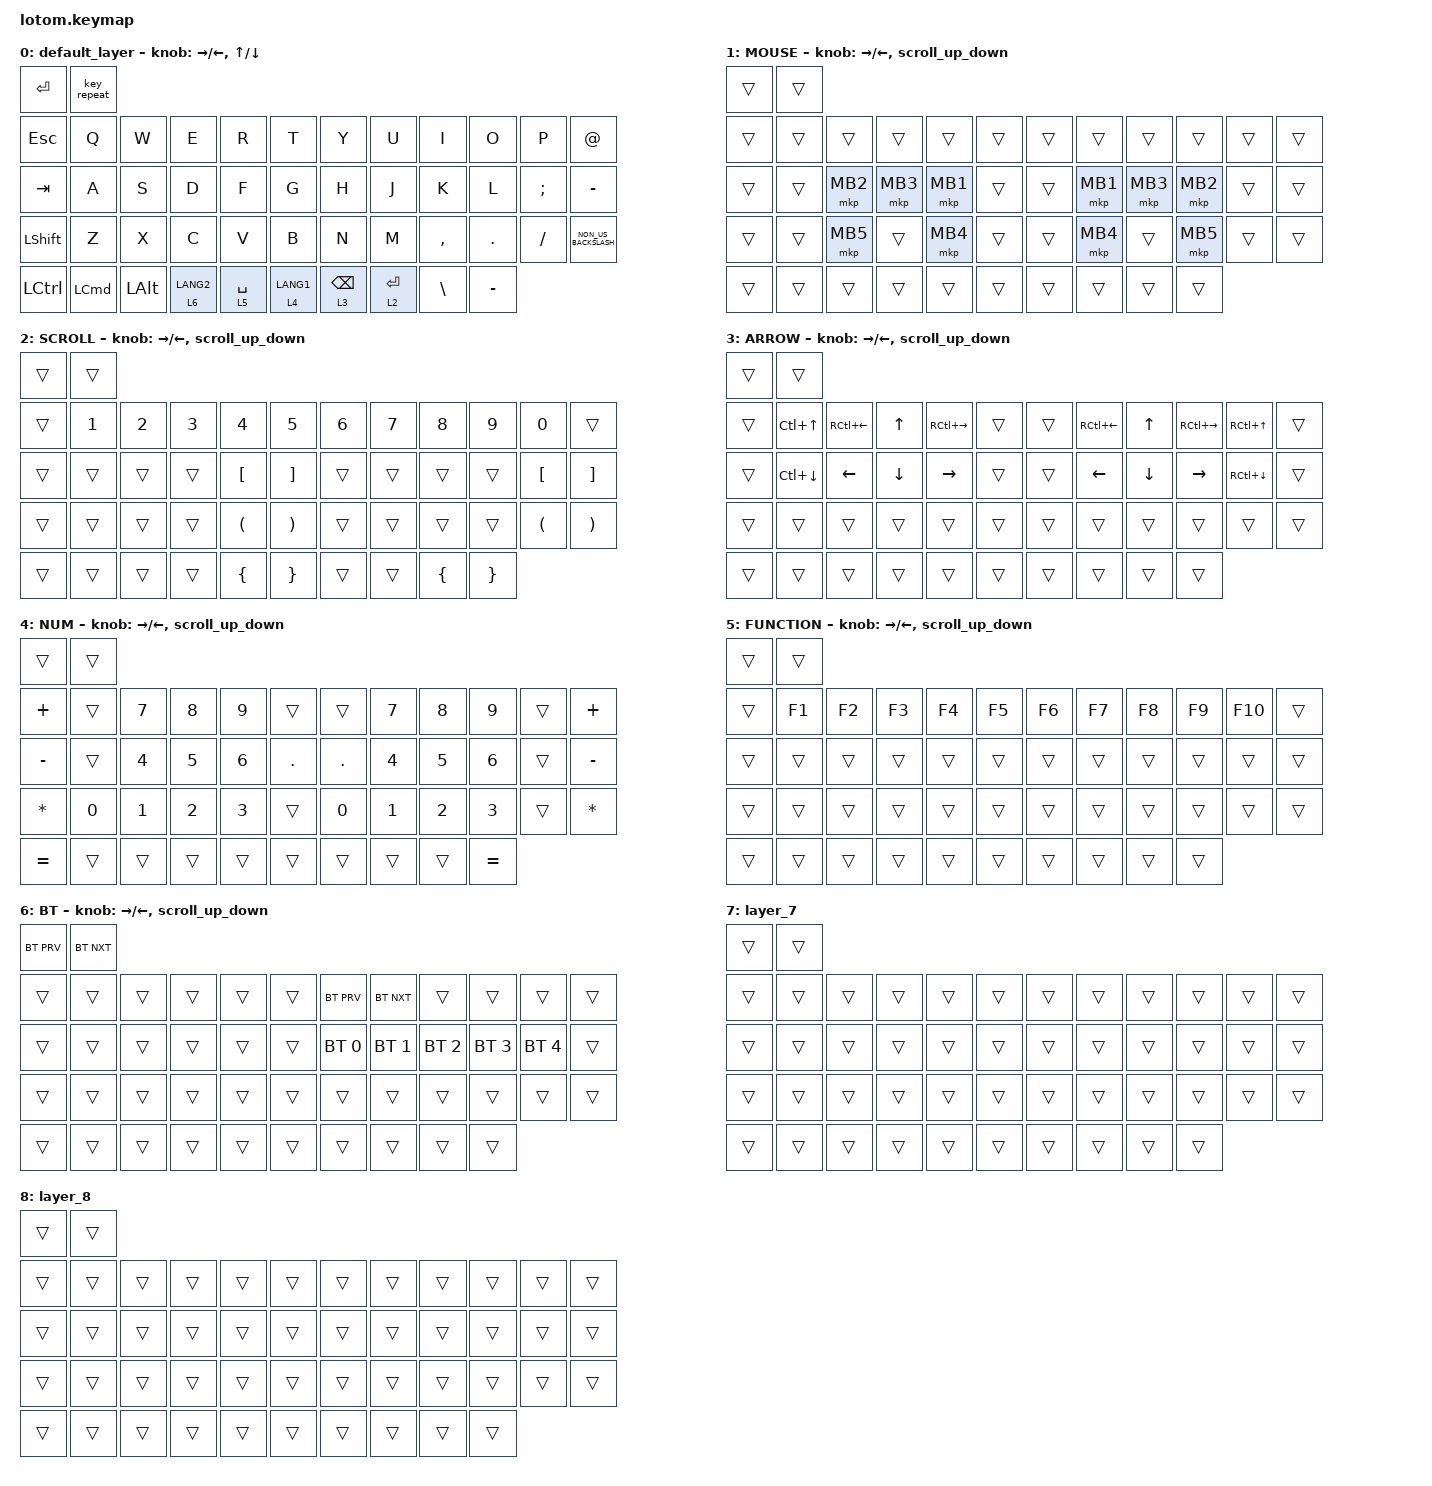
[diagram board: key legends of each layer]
#include <behaviors.dtsi>
#include <dt-bindings/zmk/bt.h>
#include <dt-bindings/zmk/keys.h>
#include <dt-bindings/zmk/pointing.h>

#define ZMK_POINTING_DEFAULT_SCRL_VAL 80

/ {
    behaviors {
        scroll_up_down: behavior_sensor_rotate_mouse_wheel_up_down {
            compatible = "zmk,behavior-sensor-rotate";
            label = "ENCODER_MSC_DOWN_UP";
            #sensor-binding-cells = <0>;
            bindings = <&msc SCRL_DOWN>, <&msc SCRL_UP>;

            tap-ms = <20>;
        };

        tab_slide: behavior_sensor_rotate_tab_slide {
            compatible = "zmk,behavior-sensor-rotate";
            label = "ENCODER_TAB_SLIDE";
            #sensor-binding-cells = <0>;
            bindings = <&kp LA(LG(RIGHT_ARROW))>, <&kp LA(LG(LEFT_ARROW))>;

            tap-ms = <20>;
        };
    };

    keymap {
        compatible = "zmk,keymap";

        default_layer {
            bindings = <
&kp ENTER       &key_repeat
&kp ESCAPE      &kp Q             &kp W         &kp E        &kp R        &kp T        &kp Y            &kp U        &kp I      &kp O      &kp P          &kp AT
&kp TAB         &kp A             &kp S         &kp D        &kp F        &kp G        &kp H            &kp J        &kp K      &kp L      &kp SEMICOLON  &kp MINUS
&kp LEFT_SHIFT  &kp Z             &kp X         &kp C        &kp V        &kp B        &kp N            &kp M        &kp COMMA  &kp DOT    &kp SLASH      &kp NON_US_BACKSLASH
&kp LCTRL       &kp LEFT_COMMAND  &kp LEFT_ALT  &lt 6 LANG2  &lt 5 SPACE  &lt 4 LANG1  &lt 3 BACKSPACE  &lt 2 ENTER  &kp BSLH   &kp MINUS
            >;

            sensor-bindings =
                <&inc_dec_kp RIGHT_ARROW LEFT_ARROW>,
                <&inc_dec_kp UP_ARROW DOWN_ARROW>;
        };

        MOUSE {
            bindings = <
&trans  &trans
&trans  &trans  &trans    &trans    &trans    &trans  &trans  &trans    &trans    &trans    &trans  &trans
&trans  &trans  &mkp MB2  &mkp MB3  &mkp MB1  &trans  &trans  &mkp MB1  &mkp MB3  &mkp MB2  &trans  &trans
&trans  &trans  &mkp MB5  &trans    &mkp MB4  &trans  &trans  &mkp MB4  &trans    &mkp MB5  &trans  &trans
&trans  &trans  &trans    &trans    &trans    &trans  &trans  &trans    &trans    &trans
            >;

            sensor-bindings = <
                &inc_dec_kp RIGHT_ARROW LEFT_ARROW
                &scroll_up_down
            >;
        };

        SCROLL {
            bindings = <
&trans  &trans
&trans  &kp NUMBER_1  &kp NUMBER_2  &kp NUMBER_3  &kp NUMBER_4          &kp NUMBER_5           &kp NUMBER_6  &kp NUMBER_7  &kp NUMBER_8    &kp NUMBER_9     &kp NUMBER_0          &trans
&trans  &trans        &trans        &trans        &kp LEFT_BRACKET      &kp RIGHT_BRACKET      &trans        &trans        &trans          &trans           &kp LEFT_BRACKET      &kp RIGHT_BRACKET
&trans  &trans        &trans        &trans        &kp LEFT_PARENTHESIS  &kp RIGHT_PARENTHESIS  &trans        &trans        &trans          &trans           &kp LEFT_PARENTHESIS  &kp RIGHT_PARENTHESIS
&trans  &trans        &trans        &trans        &kp LEFT_BRACE        &kp RIGHT_BRACE        &trans        &trans        &kp LEFT_BRACE  &kp RIGHT_BRACE
            >;

            sensor-bindings = <
                &inc_dec_kp RIGHT_ARROW LEFT_ARROW
                &scroll_up_down
            >;
        };

        ARROW {
            bindings = <
&trans  &trans
&trans  &kp LC(UP_ARROW)    &kp RC(LEFT_ARROW)  &kp UP_ARROW    &kp RC(RIGHT_ARROW)  &trans  &trans  &kp RC(LEFT_ARROW)  &kp UP_ARROW  &kp RC(RIGHT)  &kp RC(UP_ARROW)    &trans
&trans  &kp LC(DOWN_ARROW)  &kp LEFT_ARROW      &kp DOWN_ARROW  &kp RIGHT_ARROW      &trans  &trans  &kp LEFT            &kp DOWN      &kp RIGHT      &kp RC(DOWN_ARROW)  &trans
&trans  &trans              &trans              &trans          &trans               &trans  &trans  &trans              &trans        &trans         &trans              &trans
&trans  &trans              &trans              &trans          &trans               &trans  &trans  &trans              &trans        &trans
            >;

            sensor-bindings = <
                &inc_dec_kp RIGHT_ARROW LEFT_ARROW
                &scroll_up_down
            >;
        };

        NUM {
            bindings = <
&trans        &trans
&kp PLUS      &trans  &kp N7        &kp N8        &kp N9        &trans      &trans      &kp N7        &kp N8        &kp N9        &trans  &kp PLUS
&kp MINUS     &trans  &kp NUMBER_4  &kp N5        &kp NUMBER_6  &kp PERIOD  &kp PERIOD  &kp NUMBER_4  &kp N5        &kp NUMBER_6  &trans  &kp MINUS
&kp ASTERISK  &kp N0  &kp NUMBER_1  &kp NUMBER_2  &kp NUMBER_3  &trans      &kp N0      &kp NUMBER_1  &kp NUMBER_2  &kp NUMBER_3  &trans  &kp ASTERISK
&kp EQUAL     &trans  &trans        &trans        &trans        &trans      &trans      &trans        &trans        &kp EQUAL
            >;

            sensor-bindings = <
                &inc_dec_kp RIGHT_ARROW LEFT_ARROW
                &scroll_up_down
            >;
        };

        FUNCTION {
            bindings = <
&trans  &trans
&trans  &kp F1  &kp F2  &kp F3  &kp F4  &kp F5  &kp F6  &kp F7  &kp F8  &kp F9  &kp F10  &trans
&trans  &trans  &trans  &trans  &trans  &trans  &trans  &trans  &trans  &trans  &trans   &trans
&trans  &trans  &trans  &trans  &trans  &trans  &trans  &trans  &trans  &trans  &trans   &trans
&trans  &trans  &trans  &trans  &trans  &trans  &trans  &trans  &trans  &trans
            >;

            sensor-bindings = <
                &inc_dec_kp RIGHT_ARROW LEFT_ARROW
                &scroll_up_down
            >;
        };

        BT {
            bindings = <
&bt BT_PRV  &bt BT_NXT
&trans      &trans      &trans  &trans  &trans  &trans  &bt BT_PRV    &bt BT_NXT    &trans        &trans        &trans        &trans
&trans      &trans      &trans  &trans  &trans  &trans  &bt BT_SEL 0  &bt BT_SEL 1  &bt BT_SEL 2  &bt BT_SEL 3  &bt BT_SEL 4  &trans
&trans      &trans      &trans  &trans  &trans  &trans  &trans        &trans        &trans        &trans        &trans        &trans
&trans      &trans      &trans  &trans  &trans  &trans  &trans        &trans        &trans        &trans
            >;

            sensor-bindings = <
                &inc_dec_kp RIGHT_ARROW LEFT_ARROW
                &scroll_up_down
            >;
        };

        layer_7 {
            bindings = <
&trans  &trans
&trans  &trans  &trans  &trans  &trans  &trans  &trans  &trans  &trans  &trans  &trans  &trans
&trans  &trans  &trans  &trans  &trans  &trans  &trans  &trans  &trans  &trans  &trans  &trans
&trans  &trans  &trans  &trans  &trans  &trans  &trans  &trans  &trans  &trans  &trans  &trans
&trans  &trans  &trans  &trans  &trans  &trans  &trans  &trans  &trans  &trans
            >;
        };

        layer_8 {
            bindings = <
&trans  &trans
&trans  &trans  &trans  &trans  &trans  &trans  &trans  &trans  &trans  &trans  &trans  &trans
&trans  &trans  &trans  &trans  &trans  &trans  &trans  &trans  &trans  &trans  &trans  &trans
&trans  &trans  &trans  &trans  &trans  &trans  &trans  &trans  &trans  &trans  &trans  &trans
&trans  &trans  &trans  &trans  &trans  &trans  &trans  &trans  &trans  &trans
            >;
        };
    };
};
